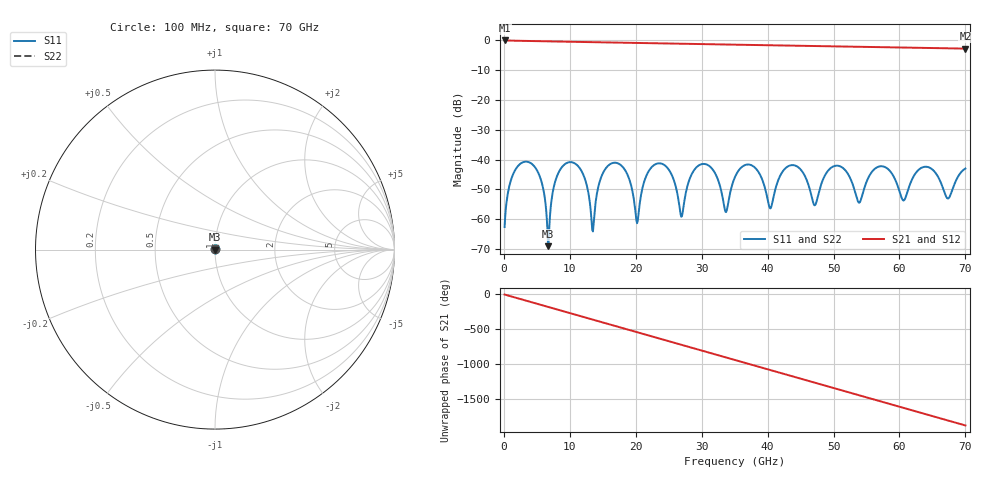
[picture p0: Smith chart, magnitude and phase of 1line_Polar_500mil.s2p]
! www.PolarInstruments.com
! File Export V10.11 [9.03]
! For hxji@mail.xidian.edu.cn;QQ=47399897
! File : D:\SJTU\Bachelor\thesis\Multi-line\transmission-line-params-extractor\data\1line\1line_Polar_500mil.s2p
! Polar  PCB Transmission Line Field Solver  v11.04.00
# MHz S DB R 50.00
! Line Length = 0.013m ( 0.50 inch )
!  PORT#  PORT#
!  Z1 = 50.00  Z2 = 50.00
!  1 --|  |-- 2
! PORT 1: INPUT NET 1
! PORT 2: OUTPUT NET 1
! FREQ  S11  S21  S12  S22
!  DB  ANG  DB  ANG  DB  ANG  DB  ANG
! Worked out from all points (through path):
!   700 points, 100 MHz to 70 GHz, reference 50 ohm
!   highest |S21| = -0.01 dB at 100 MHz (marker M1); lowest = -2.7 dB at 70 GHz (marker M2)
!   group delay of S21, straight-line fit = 74.2 ps
!   lowest |S11| = -69.0 dB at 6.7 GHz (marker M3), VSWR 1.00, Z = 50 + j0.0188 ohm
!   |S11| at or under -10 dB: start of sweep to end of sweep
!   |S22| runs from -69.0 to -40.7 dB; largest |S21 - S12| = 0
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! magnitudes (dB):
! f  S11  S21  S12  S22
! 100 MHz  -62.6  0.0  0.0  -62.6
! 3.5 GHz  -40.7  -0.2  -0.2  -40.7
! 5.5 GHz  -46.0  -0.3  -0.3  -46.0
! 6.7 GHz  -69.0  -0.3  -0.3  -69.0
! 8.5 GHz  -43.5  -0.4  -0.4  -43.5
! 11.8 GHz  -44.0  -0.5  -0.5  -44.0
! 13.4 GHz  -63.6  -0.6  -0.6  -63.6
! 16.7 GHz  -41.0  -0.7  -0.7  -41.0
! 20.2 GHz  -61.3  -0.9  -0.9  -61.3
! 23.4 GHz  -41.3  -1.0  -1.0  -41.3
! 26.9 GHz  -59.2  -1.1  -1.1  -59.2
! 29.5 GHz  -42.0  -1.2  -1.2  -42.0
! 33.7 GHz  -57.6  -1.4  -1.4  -57.6
! 35.1 GHz  -45.6  -1.4  -1.4  -45.6
! 38 GHz  -42.5  -1.5  -1.5  -42.5
! 40.4 GHz  -56.4  -1.6  -1.6  -56.4
! 44.1 GHz  -41.9  -1.8  -1.8  -41.9
! 46.7 GHz  -52.6  -1.9  -1.9  -52.6
! 50.1 GHz  -42.2  -2.0  -2.0  -42.2
! 58.4 GHz  -43.4  -2.3  -2.3  -43.4
! 60.6 GHz  -53.7  -2.4  -2.4  -53.7
! 70 GHz  -43.0  -2.7  -2.7  -43.0
